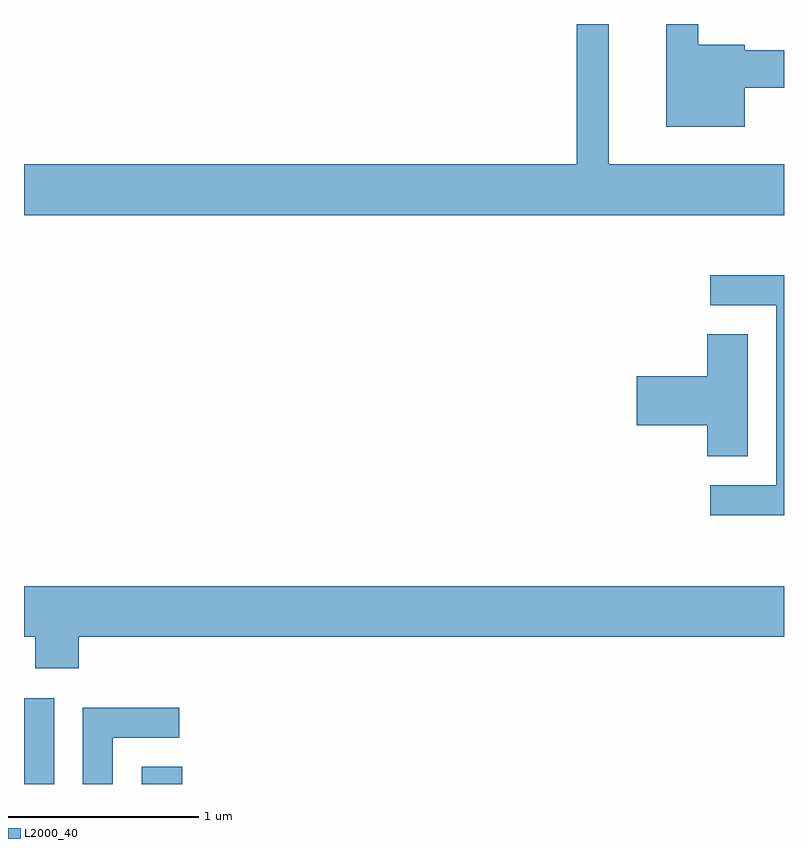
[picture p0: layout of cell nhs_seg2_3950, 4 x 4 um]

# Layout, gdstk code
import gdstk
lib = gdstk.Library(unit=1e-6, precision=1e-09)
def R(c, l, rs):  # rectangles x0, y0, x1, y1
    for r in rs: c.add(gdstk.rectangle(r[:2], r[2:], *l))
def P(c, l, *ps):  # polygons
    for p in ps: c.add(gdstk.Polygon(p, *l))
L2000_40 = (2000, 40)

nhs_seg2_3950 = lib.new_cell('nhs_seg2_3950')
R(nhs_seg2_3950, L2000_40, [(301.611,1009.802,301.769,1010.254), (302.231,1009.802,302.444,1009.894)])
P(nhs_seg2_3950, L2000_40, [(305.611,1013.064),(304.689,1013.064),(304.689,1013.802),(304.521,1013.802),(304.521,1013.064),(301.611,1013.064),(301.611,1012.796),(305.611,1012.796)],
  [(305.404,1013.466),(305.611,1013.466),(305.611,1013.664),(305.404,1013.664),(305.404,1013.694),(305.159,1013.694),(305.159,1013.802),(304.991,1013.802),(304.991,1013.261),(305.404,1013.261)],
  [(305.611,1012.479),(305.223,1012.479),(305.223,1012.321),(305.571,1012.321),(305.571,1011.374),(305.223,1011.374),(305.223,1011.216),(305.611,1011.216)],
  [(305.419,1012.169),(305.206,1012.169),(305.206,1011.949),(304.836,1011.949),(304.836,1011.691),(305.206,1011.691),(305.206,1011.526),(305.419,1011.526)],
  [(301.899,1010.576),(305.611,1010.576),(305.611,1010.844),(301.611,1010.844),(301.611,1010.576),(301.671,1010.576),(301.671,1010.411),(301.899,1010.411)],
  [(302.079,1010.046),(302.428,1010.046),(302.428,1010.204),(301.921,1010.204),(301.921,1009.802),(302.079,1009.802)])

lib.write_gds('nhs_seg2_3950.gds')
